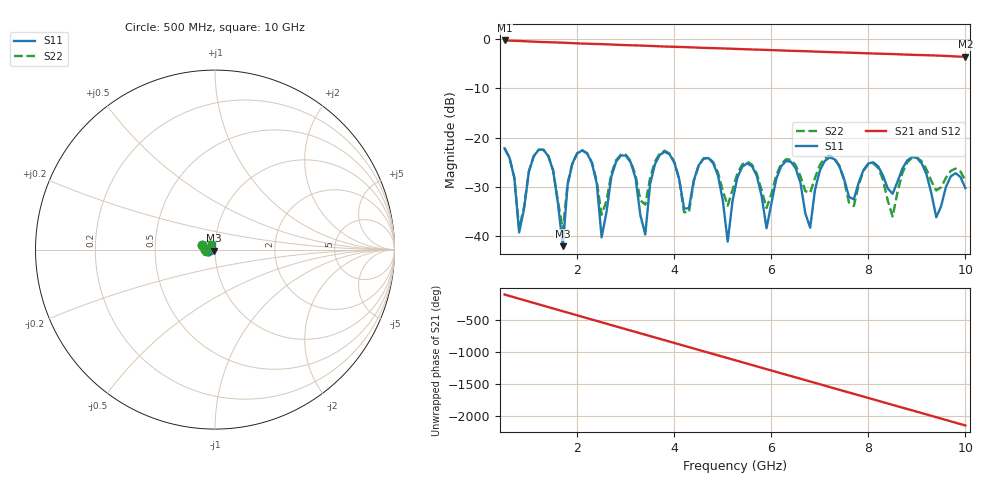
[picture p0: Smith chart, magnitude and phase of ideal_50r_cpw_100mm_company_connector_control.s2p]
! Touchstone file exported from HFSS 3D Layout Design 2026.1.0
!  File:  D:/Work/ADS/HFSS_VERDICT/hfss_sma_connector_cpw.aedt
!  Generated:  01:20:38 PM Aug  4, 2026
!  Design:  IDEAL_50R_CPW_100MM
!  Project:  hfss_sma_connector_cpw
# GHz S MA R 50.000000
! Terminal data exported
! Port[1] = Port1
! Port[2] = Port2
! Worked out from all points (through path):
!   96 points, 500 MHz to 10 GHz, reference 50 ohm
!   highest |S21| = -0.32 dB at 500 MHz (marker M1); lowest = -3.6 dB at 10 GHz (marker M2)
!   group delay of S21, straight-line fit = 594 ps
!   lowest |S11| = -42.0 dB at 1.7 GHz (marker M3), VSWR 1.02, Z = 49.4 - j0.538 ohm
!   |S11| at or under -10 dB: start of sweep to end of sweep
!   |S22| runs from -38.8 to -22.2 dB; largest |S21 - S12| = 1.3e-13
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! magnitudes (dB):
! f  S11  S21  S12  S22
! 500 MHz  -22.2  -0.3  -0.3  -22.2
! 800 MHz  -39.2  -0.4  -0.4  -38.4
! 1.4 GHz  -23.7  -0.7  -0.7  -23.7
! 1.7 GHz  -42.0  -0.8  -0.8  -38.8
! 2.1 GHz  -22.6  -0.9  -0.9  -22.6
! 2.5 GHz  -40.2  -1.1  -1.1  -35.7
! 2.9 GHz  -23.6  -1.2  -1.2  -23.4
! 3.4 GHz  -39.7  -1.4  -1.4  -33.6
! 3.7 GHz  -23.5  -1.5  -1.5  -23.2
! 4.2 GHz  -34.4  -1.7  -1.7  -35.1
! 4.8 GHz  -25.2  -1.9  -1.9  -25.0
! 5.1 GHz  -41.1  -2.0  -2.0  -33.8
! 5.3 GHz  -28.1  -2.0  -2.0  -27.3
! 5.9 GHz  -38.4  -2.2  -2.2  -34.3
! 6.3 GHz  -24.8  -2.4  -2.4  -24.4
! 6.8 GHz  -38.3  -2.5  -2.5  -31.2
! 6.9 GHz  -30.6  -2.6  -2.6  -28.2
! 8.1 GHz  -25.0  -3.0  -3.0  -25.2
! 8.5 GHz  -31.4  -3.1  -3.1  -36.0
! 8.9 GHz  -23.9  -3.2  -3.2  -24.1
! 9.4 GHz  -36.2  -3.4  -3.4  -30.7
! 10 GHz  -30.3  -3.6  -3.6  -28.7
